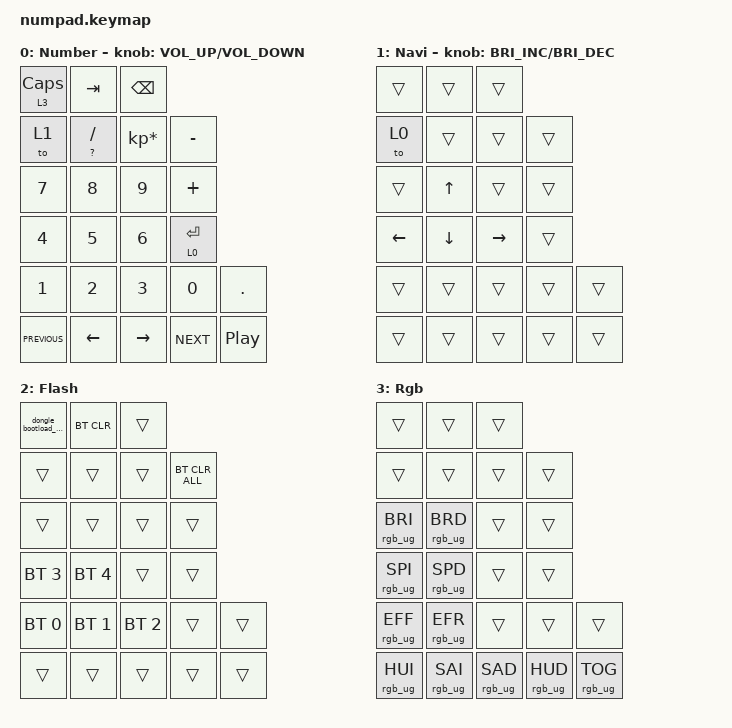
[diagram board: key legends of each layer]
/*
 * Copyright (c) 2021 The ZMK Contributors
 *
 * SPDX-License-Identifier: MIT
 */

#include <behaviors/mouse_keys.dtsi>
#include <behaviors.dtsi>
#include <dt-bindings/zmk/bt.h>
#include <dt-bindings/zmk/keys.h>
#include <dt-bindings/zmk/rgb.h>

/ {
    combos {
        compatible = "zmk,combos";

        combo_esc {
            timeout-ms = <50>;
            key-positions = <0 1>;
            bindings = <&kp ESC>;
        };

        left_bkt {
            bindings = <&kp LEFT_BRACKET>;
            key-positions = <14 15>;
            timeout-ms = <50>;
        };

        right_bkt {
            bindings = <&kp RIGHT_BRACKET>;
            key-positions = <18 19>;
            timeout-ms = <50>;
        };

        left_par {
            bindings = <&kp LEFT_PARENTHESIS>;
            key-positions = <26 25>;
            timeout-ms = <50>;
        };

        right_par {
            bindings = <&kp RIGHT_PARENTHESIS>;
            key-positions = <29 30>;
            timeout-ms = <50>;
        };

        left_brace {
            bindings = <&kp LEFT_BRACE>;
            key-positions = <37 36>;
            timeout-ms = <50>;
        };

        right_brace {
            bindings = <&kp RIGHT_BRACE>;
            key-positions = <39 40>;
            timeout-ms = <50>;
        };

        bac {
            bindings = <&kp BACKSLASH>;
            key-positions = <15 18>;
            timeout-ms = <50>;
        };

        pipe {
            bindings = <&kp PIPE>;
            key-positions = <26 29>;
            timeout-ms = <50>;
        };

        plus {
            bindings = <&kp PLUS>;
            key-positions = <23 24>;
        };

        equal {
            bindings = <&kp EQUAL>;
            key-positions = <31 32>;
        };
    };

    macros {
        dongle_bootload_macro: bootload_macro {
            compatible = "zmk,behavior-macro";
            #binding-cells = <0>;
            bindings = <&bootloader>;
            label = "BOOTLOAD_MACRO";
        };

        layer_s: layer_s {
            label = "layer shift color";
            compatible = "zmk,behavior-macro";
            #binding-cells = <0>;
            wait-ms = <0>;
            tap-ms = <0>;
            bindings =
                <&macro_press>,
                <&kp LSHFT>,
                <&macro_tap>,
                <&rgb_ug RGB_COLOR_HSB(35,100,50)>,
                <&macro_pause_for_release>,
                <&macro_release>,
                <&kp LSHFT>,
                <&macro_tap>,
                <&rgb_ug RGB_COLOR_HSB(240,50,30)>;
        };

        layer_1: layer_1 {
            label = "layer 1";
            compatible = "zmk,behavior-macro";
            #binding-cells = <0>;
            wait-ms = <0>;
            tap-ms = <0>;
            bindings =
                <&macro_press>,
                <&lt 1 END>,
                <&macro_tap>,
                <&rgb_ug RGB_COLOR_HSB(300,100,50)>,
                <&macro_pause_for_release>,
                <&macro_release>,
                <&lt 1 END>,
                <&macro_tap>,
                <&rgb_ug RGB_COLOR_HSB(240,50,30)>;
        };

        layer_2: layer_2 {
            label = "layer 2";
            compatible = "zmk,behavior-macro";
            #binding-cells = <0>;
            wait-ms = <0>;
            tap-ms = <0>;
            bindings =
                <&macro_press>,
                <&mo 2>,
                <&macro_tap>,
                <&rgb_ug RGB_COLOR_HSB(175,100,50)>,
                <&macro_pause_for_release>,
                <&macro_release>,
                <&mo 2>,
                <&macro_tap>,
                <&rgb_ug RGB_COLOR_HSB(240,50,30)>;
        };

        layer_3: layer_3 {
            label = "layer 3";
            compatible = "zmk,behavior-macro";
            #binding-cells = <0>;
            wait-ms = <0>;
            tap-ms = <0>;
            bindings =
                <&macro_press>,
                <&lt 3 DEL>,
                <&macro_tap>,
                <&rgb_ug RGB_COLOR_HSB(0,100,50)>,
                <&macro_pause_for_release>,
                <&macro_release>,
                <&lt 3 DEL>,
                <&macro_tap>,
                <&rgb_ug RGB_COLOR_HSB(240,50,30)>;
        };
    };

    behaviors {
        hm: homerow_mods {
            compatible = "zmk,behavior-hold-tap";
            label = "HOMEROW_MODS";
            bindings = <&kp>, <&kp>;

            #binding-cells = <2>;
            tapping-term-ms = <200>;
            quick-tap-ms = <180>;
            flavor = "tap-preferred";
        };

        ltq: ltq {
            compatible = "zmk,behavior-hold-tap";
            label = "LTQ";
            bindings = <&mo>, <&kp>;

            #binding-cells = <2>;
            tapping-term-ms = <200>;
            quick-tap-ms = <180>;
        };

        as: auto_shift {
            compatible = "zmk,behavior-hold-tap";
            label = "AUTO_SHIFT";
            bindings = <&kp>, <&kp>;

            #binding-cells = <2>;
            tapping-term-ms = <135>;
            quick-tap-ms = <0>;
        };
    };

    keymap {
        compatible = "zmk,keymap";

        Number {
            bindings = <
&ltq 3 CAPSLOCK  &kp TAB             &kp BSPC
&to 1            &as QUESTION SLASH  &kp KP_MULTIPLY  &kp MINUS
&kp N7           &kp N8              &kp N9           &kp PLUS
&kp N4           &kp N5              &kp N6           &ltq 0 ENTER
&kp N1           &kp N2              &kp N3           &kp N0        &kp DOT
&kp C_PREVIOUS   &kp LEFT_ARROW      &kp RIGHT_ARROW  &kp C_NEXT    &kp C_PLAY_PAUSE
            >;

            sensor-bindings = <&inc_dec_kp C_VOLUME_UP C_VOLUME_DOWN>;
            label = "Number";
        };

        Navi {
            bindings = <
&trans    &trans          &trans
&to 0     &trans          &trans           &trans
&trans    &kp UP_ARROW    &trans           &trans
&kp LEFT  &kp DOWN_ARROW  &kp RIGHT_ARROW  &trans
&trans    &trans          &trans           &trans  &trans
&trans    &trans          &trans           &trans  &trans
            >;

            label = "Navi";
            sensor-bindings = <&inc_dec_kp C_BRIGHTNESS_INC C_BRIGHTNESS_DEC>;
        };

        Flash {
            bindings = <
&dongle_bootload_macro  &bt BT_CLR    &trans
&trans                  &trans        &trans        &bt BT_CLR_ALL
&trans                  &trans        &trans        &trans
&bt BT_SEL 3            &bt BT_SEL 4  &trans        &trans
&bt BT_SEL 0            &bt BT_SEL 1  &bt BT_SEL 2  &trans          &trans
&trans                  &trans        &trans        &trans          &trans
            >;

            label = "Flash";
        };

        Rgb {
            bindings = <
&trans           &trans           &trans
&trans           &trans           &trans           &trans
&rgb_ug RGB_BRI  &rgb_ug RGB_BRD  &trans           &trans
&rgb_ug RGB_SPI  &rgb_ug RGB_SPD  &trans           &trans
&rgb_ug RGB_EFF  &rgb_ug RGB_EFR  &trans           &trans           &trans
&rgb_ug RGB_HUI  &rgb_ug RGB_SAI  &rgb_ug RGB_SAD  &rgb_ug RGB_HUD  &rgb_ug RGB_TOG
            >;

            label = "Rgb";
        };
    };
};
